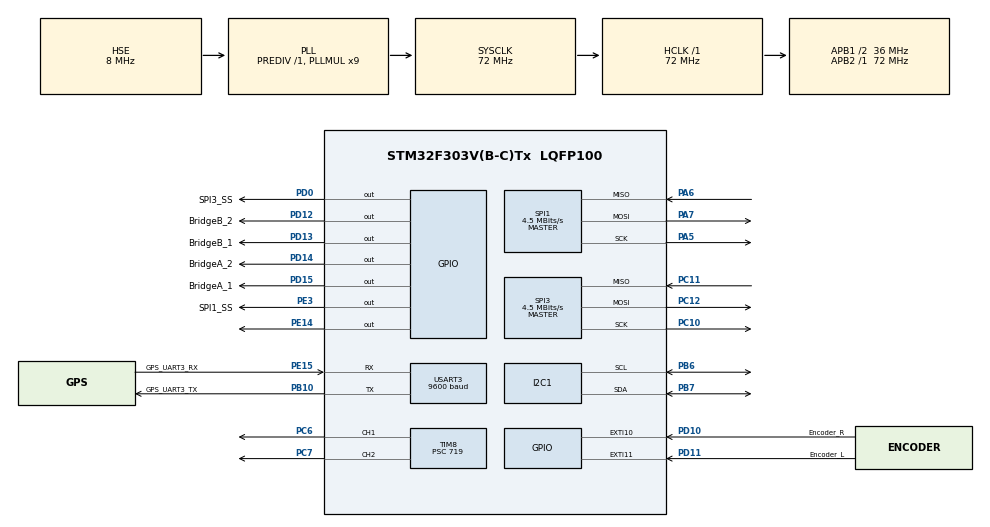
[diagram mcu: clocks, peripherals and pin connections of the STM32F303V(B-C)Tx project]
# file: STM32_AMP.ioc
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Dma.Request0=USART3_RX
Dma.Request1=USART3_TX
Dma.USART3_RX.0.Direction=DMA_PERIPH_TO_MEMORY
Dma.USART3_RX.0.Instance=DMA1_Channel3
Dma.USART3_RX.0.MemDataAlignment=DMA_MDATAALIGN_BYTE
Dma.USART3_RX.0.MemInc=DMA_MINC_ENABLE
Dma.USART3_RX.0.Mode=DMA_NORMAL
Dma.USART3_RX.0.PeriphDataAlignment=DMA_PDATAALIGN_BYTE
Dma.USART3_RX.0.PeriphInc=DMA_PINC_DISABLE
Dma.USART3_RX.0.Priority=DMA_PRIORITY_LOW
Dma.USART3_TX.1.Direction=DMA_MEMORY_TO_PERIPH
Dma.USART3_TX.1.Instance=DMA1_Channel2
Dma.USART3_TX.1.MemDataAlignment=DMA_MDATAALIGN_BYTE
Dma.USART3_TX.1.MemInc=DMA_MINC_ENABLE
Dma.USART3_TX.1.Mode=DMA_NORMAL
Dma.USART3_TX.1.PeriphDataAlignment=DMA_PDATAALIGN_BYTE
Dma.USART3_TX.1.PeriphInc=DMA_PINC_DISABLE
Dma.USART3_TX.1.Priority=DMA_PRIORITY_LOW
Mcu.Family=STM32F3
Mcu.Name=STM32F303V(B-C)Tx
Mcu.Package=LQFP100
NVIC.DMA1_Channel2_IRQn=true\:0\:0\:false\:false\:true\:false\:true
NVIC.DMA1_Channel3_IRQn=true\:0\:0\:false\:false\:true\:false\:true
NVIC.EXTI15_10_IRQn=true\:0\:0\:false\:false\:true\:true\:true
NVIC.PriorityGroup=NVIC_PRIORITYGROUP_4
NVIC.TIM6_DAC_IRQn=true\:0\:0\:false\:false\:true\:true\:true
NVIC.TIM7_IRQn=true\:0\:0\:false\:false\:true\:true\:true
NVIC.USART3_IRQn=true\:0\:0\:false\:false\:true\:true\:true
PA5.Mode=Full_Duplex_Master
PA5.Signal=SPI1_SCK
PA6.Mode=Full_Duplex_Master
PA6.Signal=SPI1_MISO
PA7.Mode=Full_Duplex_Master
PA7.Signal=SPI1_MOSI
PB10.GPIO_Label=GPS_UART3_TX
PB10.Mode=Asynchronous
PB10.Signal=USART3_TX
PB6.Mode=I2C
PB6.Signal=I2C1_SCL
PB7.Mode=I2C
PB7.Signal=I2C1_SDA
PC10.Mode=Full_Duplex_Master
PC10.Signal=SPI3_SCK
PC11.Mode=Full_Duplex_Master
PC11.Signal=SPI3_MISO
PC12.Mode=Full_Duplex_Master
PC12.Signal=SPI3_MOSI
PC6.Signal=S_TIM8_CH1
PC7.Signal=S_TIM8_CH2
PD0.GPIO_Label=SPI3_SS
PD0.Signal=GPIO_Output
PD10.GPIO_Label=Encoder_R
PD10.GPIO_ModeDefaultEXTI=GPIO_MODE_IT_RISING_FALLING
PD10.GPIO_PuPd=GPIO_NOPULL
PD10.Signal=GPXTI10
PD11.GPIO_Label=Encoder_L
PD11.GPIO_ModeDefaultEXTI=GPIO_MODE_IT_RISING_FALLING
PD11.GPIO_PuPd=GPIO_NOPULL
PD11.Signal=GPXTI11
PD12.GPIO_Label=BridgeB_2
PD12.Signal=GPIO_Output
PD13.GPIO_Label=BridgeB_1
PD13.Signal=GPIO_Output
PD14.GPIO_Label=BridgeA_2
PD14.Signal=GPIO_Output
PD15.GPIO_Label=BridgeA_1
PD15.Signal=GPIO_Output
PE14.Signal=GPIO_Output
PE15.GPIO_Label=GPS_UART3_RX
PE15.Mode=Asynchronous
PE15.Signal=USART3_RX
PE3.GPIO_Label=SPI1_SS
PE3.Signal=GPIO_Output
PF0-OSC_IN.Mode=HSE-External-Oscillator
PF0-OSC_IN.Signal=RCC_OSC_IN
PF1-OSC_OUT.Mode=HSE-External-Oscillator
PF1-OSC_OUT.Signal=RCC_OSC_OUT
ProjectManager.HeapSize=0x200
ProjectManager.StackSize=0x400
ProjectManager.TargetToolchain=STM32CubeIDE
RCC.AHBFreq_Value=72000000
RCC.APB1CLKDivider=RCC_HCLK_DIV2
RCC.APB1Freq_Value=36000000
RCC.APB1TimFreq_Value=72000000
RCC.APB2Freq_Value=72000000
RCC.APB2TimFreq_Value=72000000
RCC.CortexFreq_Value=72000000
RCC.EnbaleCSS=true
RCC.HCLKFreq_Value=72000000
RCC.HSE_VALUE=8000000
RCC.HSI_VALUE=8000000
RCC.LSE_VALUE=32768
RCC.PLLMUL=RCC_PLL_MUL9
RCC.PLLSourceVirtual=RCC_PLLSOURCE_HSE
RCC.SYSCLKFreq_VALUE=72000000
RCC.SYSCLKSourceVirtual=RCC_SYSCLKSOURCE_PLLCLK
RCC.USBFreq_Value=72000000
SH.S_TIM8_CH1.0=TIM8_CH1,PWM Generation1 CH1
SH.S_TIM8_CH2.0=TIM8_CH2,PWM Generation2 CH2
SPI1.BaudRatePrescaler=SPI_BAUDRATEPRESCALER_16
SPI1.CalculateBaudRate=4.5 MBits/s
SPI1.DataSize=SPI_DATASIZE_8BIT
SPI1.Direction=SPI_DIRECTION_2LINES
SPI1.Mode=SPI_MODE_MASTER
SPI1.VirtualType=VM_MASTER
SPI3.BaudRatePrescaler=SPI_BAUDRATEPRESCALER_8
SPI3.CalculateBaudRate=4.5 MBits/s
SPI3.DataSize=SPI_DATASIZE_8BIT
SPI3.Direction=SPI_DIRECTION_2LINES
SPI3.Mode=SPI_MODE_MASTER
SPI3.VirtualType=VM_MASTER
TIM6.Period=7199
TIM6.Prescaler=9999
TIM7.Period=4999
TIM7.Prescaler=7199
TIM8.Channel-PWM\ Generation1\ CH1=TIM_CHANNEL_1
TIM8.Channel-PWM\ Generation2\ CH2=TIM_CHANNEL_2
TIM8.Period=999
TIM8.Prescaler=719
USART3.BaudRate=9600
USART3.VirtualMode-Asynchronous=VM_ASYNC
VP_TIM6_VS_ClockSourceINT.Mode=Enable_Timer
VP_TIM7_VS_ClockSourceINT.Mode=Enable_Timer
VP_TIM8_VS_ClockSourceINT.Mode=Internal
board=custom

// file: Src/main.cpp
/* USER CODE BEGIN Header */
/**
  ******************************************************************************
  * @file           : main.c
  * @brief          : Main program body
  ******************************************************************************
  * @attention
  *
  * <h2><center>&copy; Copyright (c) 2019 STMicroelectronics.
  * All rights reserved.</center></h2>
  *
  * This software component is licensed by ST under BSD 3-Clause license,
  * the "License"; You may not use this file except in compliance with the
  * License. You may obtain a copy of the License at:
  *                        opensource.org/licenses/BSD-3-Clause
  *
  ******************************************************************************
  */
/* USER CODE END Header */

#include "main.h"

/* USER CODE BEGIN Includes */

extern "C"
{
	#include "ring_buffer.h"
}

#include "Encoder.h"
#include "DCMotor.h"
#include "IMUSensor.h"
#include "DataPtrVolumePair.h"
#include "DataManagement.h"

/* USER CODE END Includes */

/* USER CODE BEGIN PD */

#define UART3_BUFFER_SIZE 64
#define UART3_RB_SIZE 128

#define ID_PWM 0x02
#define ID_TIM 0x03
#define ID_ACC 0x04
#define ID_GYRO 0x05
#define ID_MAG 0x06
#define ID_ENCODER 0x07
#define ID_GPS 0x08

#define SIZE_GET_PWM 5
#define SIZE_GET_TIM 16
#define SIZE_GET_ACC 10
#define SIZE_GET_GYRO 10
#define SIZE_GET_MAG 10
#define SIZE_GET_ENCODER 4
#define SIZE_GET_GPS 20

#define IMU_NUM_OF_ELEM 10

/* USER CODE END PD */

I2C_HandleTypeDef hi2c1;

SPI_HandleTypeDef hspi1;
SPI_HandleTypeDef hspi3;

TIM_HandleTypeDef htim6;
TIM_HandleTypeDef htim7;
TIM_HandleTypeDef htim8;

UART_HandleTypeDef huart3;
DMA_HandleTypeDef hdma_usart3_rx;
DMA_HandleTypeDef hdma_usart3_tx;

/* USER CODE BEGIN PV */

char messageToSend[50];
uint8_t rxBuffer_UART3[UART3_BUFFER_SIZE];
uint8_t rxRB_UART3[UART3_RB_SIZE];
uint16_t msgSize;
uint16_t sended = 0;
uint16_t sendedHalf = 0;
uint16_t rcvHalf = 0;
uint16_t rcv = 0;
uint32_t numbOfMeasurements;

RINGBUFF_T rxRingBuffer_UART3;
Encoder encoder;
DCMotor dcMotors;
IMUSensor imuSensors(IMU_NUM_OF_ELEM);
DataManagement dataManagement;

std::map<uint8_t, DataPtrVolumePair> dataPtrMap =
{
	{ID_PWM, DataPtrVolumePair{1, SIZE_GET_PWM, std::bind(&DCMotor::getDataInArray, &dcMotors, std::placeholders::_1)}},
	{ID_ACC, DataPtrVolumePair{IMU_NUM_OF_ELEM, SIZE_GET_ACC, std::bind(&IMUSensor::getAccData, &imuSensors, std::placeholders::_1)}},
	{ID_GYRO, DataPtrVolumePair{IMU_NUM_OF_ELEM, SIZE_GET_GYRO, std::bind(&IMUSensor::getGyroData, &imuSensors, std::placeholders::_1)}},
	{ID_MAG, DataPtrVolumePair{IMU_NUM_OF_ELEM, SIZE_GET_MAG, std::bind(&IMUSensor::getMagData, &imuSensors, std::placeholders::_1)}},
	{ID_ENCODER, DataPtrVolumePair{1, SIZE_GET_ENCODER, std::bind(&Encoder::getDataInArray, &encoder, std::placeholders::_1)}}
};

uint8_t buffacc[100] = {0};
uint8_t buffgyro[100] = {0};
uint8_t buffmag[100] = {0};

uint8_t globalBuff[320] = {0};

/* USER CODE END PV */

void SystemClock_Config(void);
static void MX_GPIO_Init(void);
static void MX_DMA_Init(void);
static void MX_USART3_UART_Init(void);
static void MX_TIM8_Init(void);
static void MX_I2C1_Init(void);
static void MX_SPI1_Init(void);
static void MX_SPI3_Init(void);
static void MX_TIM6_Init(void);
static void MX_TIM7_Init(void);
/* USER CODE BEGIN PFP */

extern "C" void UART3_RX_PushDataToBuffer(void);

/* USER CODE END PFP */

/* USER CODE BEGIN 0 */

void UART3_RX_PushDataToBuffer(void)
{
	volatile static uint8_t headPosition = 0, tailPosition = 0;

	tailPosition = UART3_BUFFER_SIZE - __HAL_DMA_GET_COUNTER(&hdma_usart3_rx);

	if(tailPosition != headPosition)
	{
		if (tailPosition > headPosition)
		{
			//Push to ringbuffer from [headPos] to [tailPosition]
			RingBuffer_InsertMult(&rxRingBuffer_UART3, (const uint8_t *) &rxBuffer_UART3[headPosition], tailPosition - headPosition);
		}
		else
		{
			//Push from headPosition to the end
			RingBuffer_InsertMult(&rxRingBuffer_UART3, (const uint8_t *) &rxBuffer_UART3[headPosition], UART3_BUFFER_SIZE - headPosition);
			//and
			//Push from the begining to the tailPosition
			RingBuffer_InsertMult(&rxRingBuffer_UART3, (const uint8_t *) &rxBuffer_UART3, tailPosition);
		}

		headPosition = tailPosition;
	}
}

void HAL_UART_RxHalfCpltCallback(UART_HandleTypeDef *huart)
{
	UART3_RX_PushDataToBuffer();
	rcvHalf++;
}

void HAL_UART_RxCpltCallback(UART_HandleTypeDef *huart)
{
	UART3_RX_PushDataToBuffer();
	rcv++;
}

void UART_TransmitData(UART_HandleTypeDef *huart, uint8_t *data, uint16_t size)
{

	while(!__HAL_UART_GET_FLAG(huart, UART_FLAG_TXE) || !__HAL_UART_GET_FLAG(huart, UART_FLAG_TC));
	HAL_UART_Transmit_DMA(huart, data, size);
	while(!__HAL_UART_GET_FLAG(huart, UART_FLAG_TC));
}

void sendAllDataFromRB(UART_HandleTypeDef *huart, RINGBUFF_T *ringBuffer)
{
	uint16_t dataSize = RingBuffer_GetCount(ringBuffer);
	if(dataSize)
	{
		uint8_t *msgToSend = new uint8_t[dataSize * sizeof(uint8_t)];
		RingBuffer_PopMult(ringBuffer, msgToSend, dataSize);
		UART_TransmitData(huart, msgToSend, dataSize);
		delete [] msgToSend;
		msgToSend = NULL;
	}
}

void HAL_TIM_PeriodElapsedCallback(TIM_HandleTypeDef *htim)
{
	if (htim->Instance == TIM6)
	{
		msgSize = sprintf(messageToSend, "Liczba wyslanych wiadomosci: %d.\n\r", (int) numbOfMeasurements);
		UART_TransmitData(&huart3, (uint8_t *) messageToSend, msgSize);

//		HAL_GPIO_TogglePin(GPIOE, GPIO_PIN_14);
//		encoder.countPulsesPerSecond();
		numbOfMeasurements++;

		imuSensors.pullDataFromSensorsI2C(&hi2c1);
		imuSensors.pullDataFromSensorsSPI(&hspi1);
	}

	if (htim->Instance == TIM7)
	{
		HAL_GPIO_TogglePin(GPIOE, GPIO_PIN_14);
		encoder.countPulsesPerSecond();
	}
}

void HAL_GPIO_EXTI_Callback(uint16_t GPIO_Pin)
{
	if(GPIO_Pin == Encoder_R_Pin)
	{
		encoder.incrementEncoderPulse(RIGHT_ENCODER);
	}

	if(GPIO_Pin == Encoder_L_Pin)
	{
		encoder.incrementEncoderPulse(LEFT_ENCODER);
	}
}
/* USER CODE END 0 */

int main(void)
{

  /* MCU Configuration--------------------------------------------------------*/

  /* Reset of all peripherals, Initializes the Flash interface and the Systick. */
  HAL_Init();

  /* USER CODE BEGIN Init */
  RingBuffer_Init(&rxRingBuffer_UART3, rxRB_UART3, 1, UART3_RB_SIZE);

  /* USER CODE END Init */

  /* Configure the system clock */
  SystemClock_Config();

  /* Initialize all configured peripherals */
  MX_GPIO_Init();
  MX_DMA_Init();
  MX_USART3_UART_Init();
  MX_TIM8_Init();
  MX_I2C1_Init();
  MX_SPI1_Init();
  MX_SPI3_Init();
  MX_TIM6_Init();
  MX_TIM7_Init();
  /* USER CODE BEGIN 2 */

  HAL_SPI_Init(&hspi1);
  HAL_I2C_Init(&hi2c1);
  imuSensors.initializeI2C_Sensors(&hi2c1);
  imuSensors.initializeSPI_Sensors(&hspi1);

  dataManagement.configure(&dataPtrMap);

  HAL_UART_Receive_DMA(&huart3, rxBuffer_UART3, UART3_BUFFER_SIZE);

  HAL_TIM_Base_Start_IT(&htim6);
  HAL_TIM_Base_Start_IT(&htim7);
  HAL_TIM_PWM_Start(&htim8, TIM_CHANNEL_1);
  HAL_TIM_PWM_Start(&htim8, TIM_CHANNEL_2);

  /* USER CODE END 2 */

  /* Infinite loop */
  /* USER CODE BEGIN WHILE */
  while (1)
  {
	  sendAllDataFromRB(&huart3, &rxRingBuffer_UART3);

//	  imuSensors.getAccData(buffacc);
//	  imuSensors.getGyroData(buffgyro);
//	  imuSensors.getMagData(buffmag);

	  dcMotors.forward_R(&htim8, 200);
	  HAL_Delay(1000);
	  dcMotors.stop_R();
	  HAL_Delay(1000);
	  dcMotors.back_R(&htim8, 200);
	  HAL_Delay(1000);
	  dcMotors.stop_R();
	  HAL_Delay(1000);

	  dataManagement.sendData(globalBuff);
    /* USER CODE END WHILE */

  }
}

void SystemClock_Config(void)
{
  RCC_OscInitTypeDef RCC_OscInitStruct = {0};
  RCC_ClkInitTypeDef RCC_ClkInitStruct = {0};
  RCC_PeriphCLKInitTypeDef PeriphClkInit = {0};

  /** Initializes the CPU, AHB and APB busses clocks
  */
  RCC_OscInitStruct.OscillatorType = RCC_OSCILLATORTYPE_HSI|RCC_OSCILLATORTYPE_HSE;
  RCC_OscInitStruct.HSEState = RCC_HSE_ON;
  RCC_OscInitStruct.HSEPredivValue = RCC_HSE_PREDIV_DIV1;
  RCC_OscInitStruct.HSIState = RCC_HSI_ON;
  RCC_OscInitStruct.HSICalibrationValue = RCC_HSICALIBRATION_DEFAULT;
  RCC_OscInitStruct.PLL.PLLState = RCC_PLL_ON;
  RCC_OscInitStruct.PLL.PLLSource = RCC_PLLSOURCE_HSE;
  RCC_OscInitStruct.PLL.PLLMUL = RCC_PLL_MUL9;
  if (HAL_RCC_OscConfig(&RCC_OscInitStruct) != HAL_OK)
  {
    Error_Handler();
  }
  /** Initializes the CPU, AHB and APB busses clocks
  */
  RCC_ClkInitStruct.ClockType = RCC_CLOCKTYPE_HCLK|RCC_CLOCKTYPE_SYSCLK
                              |RCC_CLOCKTYPE_PCLK1|RCC_CLOCKTYPE_PCLK2;
  RCC_ClkInitStruct.SYSCLKSource = RCC_SYSCLKSOURCE_PLLCLK;
  RCC_ClkInitStruct.AHBCLKDivider = RCC_SYSCLK_DIV1;
  RCC_ClkInitStruct.APB1CLKDivider = RCC_HCLK_DIV2;
  RCC_ClkInitStruct.APB2CLKDivider = RCC_HCLK_DIV1;

  if (HAL_RCC_ClockConfig(&RCC_ClkInitStruct, FLASH_LATENCY_2) != HAL_OK)
  {
    Error_Handler();
  }
  PeriphClkInit.PeriphClockSelection = RCC_PERIPHCLK_USART3|RCC_PERIPHCLK_I2C1
                              |RCC_PERIPHCLK_TIM8;
  PeriphClkInit.Usart3ClockSelection = RCC_USART3CLKSOURCE_PCLK1;
  PeriphClkInit.I2c1ClockSelection = RCC_I2C1CLKSOURCE_HSI;
  PeriphClkInit.Tim8ClockSelection = RCC_TIM8CLK_HCLK;
  if (HAL_RCCEx_PeriphCLKConfig(&PeriphClkInit) != HAL_OK)
  {
    Error_Handler();
  }
  /** Enables the Clock Security System
  */
  HAL_RCC_EnableCSS();
}

static void MX_I2C1_Init(void)
{

  hi2c1.Instance = I2C1;
  hi2c1.Init.Timing = 0x2000090E;
  hi2c1.Init.OwnAddress1 = 0;
  hi2c1.Init.AddressingMode = I2C_ADDRESSINGMODE_7BIT;
  hi2c1.Init.DualAddressMode = I2C_DUALADDRESS_DISABLE;
  hi2c1.Init.OwnAddress2 = 0;
  hi2c1.Init.OwnAddress2Masks = I2C_OA2_NOMASK;
  hi2c1.Init.GeneralCallMode = I2C_GENERALCALL_DISABLE;
  hi2c1.Init.NoStretchMode = I2C_NOSTRETCH_DISABLE;
  if (HAL_I2C_Init(&hi2c1) != HAL_OK)
  {
    Error_Handler();
  }
  /** Configure Analogue filter
  */
  if (HAL_I2CEx_ConfigAnalogFilter(&hi2c1, I2C_ANALOGFILTER_ENABLE) != HAL_OK)
  {
    Error_Handler();
  }
  /** Configure Digital filter
  */
  if (HAL_I2CEx_ConfigDigitalFilter(&hi2c1, 0) != HAL_OK)
  {
    Error_Handler();
  }

}

static void MX_SPI1_Init(void)
{

  /* SPI1 parameter configuration*/
  hspi1.Instance = SPI1;
  hspi1.Init.Mode = SPI_MODE_MASTER;
  hspi1.Init.Direction = SPI_DIRECTION_2LINES;
  hspi1.Init.DataSize = SPI_DATASIZE_8BIT;
  hspi1.Init.CLKPolarity = SPI_POLARITY_LOW;
  hspi1.Init.CLKPhase = SPI_PHASE_1EDGE;
  hspi1.Init.NSS = SPI_NSS_SOFT;
  hspi1.Init.BaudRatePrescaler = SPI_BAUDRATEPRESCALER_16;
  hspi1.Init.FirstBit = SPI_FIRSTBIT_MSB;
  hspi1.Init.TIMode = SPI_TIMODE_DISABLE;
  hspi1.Init.CRCCalculation = SPI_CRCCALCULATION_DISABLE;
  hspi1.Init.CRCPolynomial = 7;
  hspi1.Init.CRCLength = SPI_CRC_LENGTH_DATASIZE;
  hspi1.Init.NSSPMode = SPI_NSS_PULSE_ENABLE;
  if (HAL_SPI_Init(&hspi1) != HAL_OK)
  {
    Error_Handler();
  }

}

static void MX_SPI3_Init(void)
{

  /* SPI3 parameter configuration*/
  hspi3.Instance = SPI3;
  hspi3.Init.Mode = SPI_MODE_MASTER;
  hspi3.Init.Direction = SPI_DIRECTION_2LINES;
  hspi3.Init.DataSize = SPI_DATASIZE_8BIT;
  hspi3.Init.CLKPolarity = SPI_POLARITY_LOW;
  hspi3.Init.CLKPhase = SPI_PHASE_1EDGE;
  hspi3.Init.NSS = SPI_NSS_SOFT;
  hspi3.Init.BaudRatePrescaler = SPI_BAUDRATEPRESCALER_8;
  hspi3.Init.FirstBit = SPI_FIRSTBIT_MSB;
  hspi3.Init.TIMode = SPI_TIMODE_DISABLE;
  hspi3.Init.CRCCalculation = SPI_CRCCALCULATION_DISABLE;
  hspi3.Init.CRCPolynomial = 7;
  hspi3.Init.CRCLength = SPI_CRC_LENGTH_DATASIZE;
  hspi3.Init.NSSPMode = SPI_NSS_PULSE_ENABLE;
  if (HAL_SPI_Init(&hspi3) != HAL_OK)
  {
    Error_Handler();
  }

}

static void MX_TIM6_Init(void)
{

  TIM_MasterConfigTypeDef sMasterConfig = {0};

  htim6.Instance = TIM6;
  htim6.Init.Prescaler = 9999;
  htim6.Init.CounterMode = TIM_COUNTERMODE_UP;
  htim6.Init.Period = 7199;
  htim6.Init.AutoReloadPreload = TIM_AUTORELOAD_PRELOAD_DISABLE;
  if (HAL_TIM_Base_Init(&htim6) != HAL_OK)
  {
    Error_Handler();
  }
  sMasterConfig.MasterOutputTrigger = TIM_TRGO_RESET;
  sMasterConfig.MasterSlaveMode = TIM_MASTERSLAVEMODE_DISABLE;
  if (HAL_TIMEx_MasterConfigSynchronization(&htim6, &sMasterConfig) != HAL_OK)
  {
    Error_Handler();
  }

}

static void MX_TIM7_Init(void)
{

  TIM_MasterConfigTypeDef sMasterConfig = {0};

  htim7.Instance = TIM7;
  htim7.Init.Prescaler = 7199;
  htim7.Init.CounterMode = TIM_COUNTERMODE_UP;
  htim7.Init.Period = 4999;
  htim7.Init.AutoReloadPreload = TIM_AUTORELOAD_PRELOAD_DISABLE;
  if (HAL_TIM_Base_Init(&htim7) != HAL_OK)
  {
    Error_Handler();
  }
  sMasterConfig.MasterOutputTrigger = TIM_TRGO_RESET;
  sMasterConfig.MasterSlaveMode = TIM_MASTERSLAVEMODE_DISABLE;
  if (HAL_TIMEx_MasterConfigSynchronization(&htim7, &sMasterConfig) != HAL_OK)
  {
    Error_Handler();
  }

}

static void MX_TIM8_Init(void)
{

  TIM_ClockConfigTypeDef sClockSourceConfig = {0};
  TIM_MasterConfigTypeDef sMasterConfig = {0};
  TIM_OC_InitTypeDef sConfigOC = {0};
  TIM_BreakDeadTimeConfigTypeDef sBreakDeadTimeConfig = {0};

  htim8.Instance = TIM8;
  htim8.Init.Prescaler = 719;
  htim8.Init.CounterMode = TIM_COUNTERMODE_UP;
  htim8.Init.Period = 999;
  htim8.Init.ClockDivision = TIM_CLOCKDIVISION_DIV1;
  htim8.Init.RepetitionCounter = 0;
  htim8.Init.AutoReloadPreload = TIM_AUTORELOAD_PRELOAD_DISABLE;
  if (HAL_TIM_Base_Init(&htim8) != HAL_OK)
  {
    Error_Handler();
  }
  sClockSourceConfig.ClockSource = TIM_CLOCKSOURCE_INTERNAL;
  if (HAL_TIM_ConfigClockSource(&htim8, &sClockSourceConfig) != HAL_OK)
  {
    Error_Handler();
  }
  if (HAL_TIM_PWM_Init(&htim8) != HAL_OK)
  {
    Error_Handler();
  }
  sMasterConfig.MasterOutputTrigger = TIM_TRGO_RESET;
  sMasterConfig.MasterOutputTrigger2 = TIM_TRGO2_RESET;
  sMasterConfig.MasterSlaveMode = TIM_MASTERSLAVEMODE_DISABLE;
  if (HAL_TIMEx_MasterConfigSynchronization(&htim8, &sMasterConfig) != HAL_OK)
  {
    Error_Handler();
  }
  sConfigOC.OCMode = TIM_OCMODE_PWM1;
  sConfigOC.Pulse = 0;
  sConfigOC.OCPolarity = TIM_OCPOLARITY_HIGH;
  sConfigOC.OCNPolarity = TIM_OCNPOLARITY_HIGH;
  sConfigOC.OCFastMode = TIM_OCFAST_DISABLE;
  sConfigOC.OCIdleState = TIM_OCIDLESTATE_RESET;
  sConfigOC.OCNIdleState = TIM_OCNIDLESTATE_RESET;
  if (HAL_TIM_PWM_ConfigChannel(&htim8, &sConfigOC, TIM_CHANNEL_1) != HAL_OK)
  {
    Error_Handler();
  }
  if (HAL_TIM_PWM_ConfigChannel(&htim8, &sConfigOC, TIM_CHANNEL_2) != HAL_OK)
  {
    Error_Handler();
  }
  sBreakDeadTimeConfig.OffStateRunMode = TIM_OSSR_DISABLE;
  sBreakDeadTimeConfig.OffStateIDLEMode = TIM_OSSI_DISABLE;
  sBreakDeadTimeConfig.LockLevel = TIM_LOCKLEVEL_OFF;
  sBreakDeadTimeConfig.DeadTime = 0;
  sBreakDeadTimeConfig.BreakState = TIM_BREAK_DISABLE;
  sBreakDeadTimeConfig.BreakPolarity = TIM_BREAKPOLARITY_HIGH;
  sBreakDeadTimeConfig.BreakFilter = 0;
  sBreakDeadTimeConfig.Break2State = TIM_BREAK2_DISABLE;
  sBreakDeadTimeConfig.Break2Polarity = TIM_BREAK2POLARITY_HIGH;
  sBreakDeadTimeConfig.Break2Filter = 0;
  sBreakDeadTimeConfig.AutomaticOutput = TIM_AUTOMATICOUTPUT_DISABLE;
  if (HAL_TIMEx_ConfigBreakDeadTime(&htim8, &sBreakDeadTimeConfig) != HAL_OK)
  {
    Error_Handler();
  }
  HAL_TIM_MspPostInit(&htim8);

}

static void MX_USART3_UART_Init(void)
{

  huart3.Instance = USART3;
  huart3.Init.BaudRate = 9600;
  huart3.Init.WordLength = UART_WORDLENGTH_8B;
  huart3.Init.StopBits = UART_STOPBITS_1;
  huart3.Init.Parity = UART_PARITY_NONE;
  huart3.Init.Mode = UART_MODE_TX_RX;
  huart3.Init.HwFlowCtl = UART_HWCONTROL_NONE;
  huart3.Init.OverSampling = UART_OVERSAMPLING_16;
  huart3.Init.OneBitSampling = UART_ONE_BIT_SAMPLE_DISABLE;
  huart3.AdvancedInit.AdvFeatureInit = UART_ADVFEATURE_NO_INIT;
  if (HAL_UART_Init(&huart3) != HAL_OK)
  {
    Error_Handler();
  }

}

static void MX_DMA_Init(void)
{
  /* DMA controller clock enable */
  __HAL_RCC_DMA1_CLK_ENABLE();

  /* DMA interrupt init */
  /* DMA1_Channel2_IRQn interrupt configuration */
  HAL_NVIC_SetPriority(DMA1_Channel2_IRQn, 0, 0);
  HAL_NVIC_EnableIRQ(DMA1_Channel2_IRQn);
  /* DMA1_Channel3_IRQn interrupt configuration */
  HAL_NVIC_SetPriority(DMA1_Channel3_IRQn, 0, 0);
  HAL_NVIC_EnableIRQ(DMA1_Channel3_IRQn);

}

static void MX_GPIO_Init(void)
{
  GPIO_InitTypeDef GPIO_InitStruct = {0};

  /* GPIO Ports Clock Enable */
  __HAL_RCC_GPIOE_CLK_ENABLE();
  __HAL_RCC_GPIOF_CLK_ENABLE();
  __HAL_RCC_GPIOA_CLK_ENABLE();
  __HAL_RCC_GPIOB_CLK_ENABLE();
  __HAL_RCC_GPIOD_CLK_ENABLE();
  __HAL_RCC_GPIOC_CLK_ENABLE();

  /*Configure GPIO pin Output Level */
  HAL_GPIO_WritePin(GPIOE, SPI1_SS_Pin|GPIO_PIN_14, GPIO_PIN_RESET);

  /*Configure GPIO pin Output Level */
  HAL_GPIO_WritePin(GPIOD, BridgeB_2_Pin|BridgeB_1_Pin|BridgeA_2_Pin|BridgeA_1_Pin
                          |SPI3_SS_Pin, GPIO_PIN_RESET);

  /*Configure GPIO pins : SPI1_SS_Pin PE14 */
  GPIO_InitStruct.Pin = SPI1_SS_Pin|GPIO_PIN_14;
  GPIO_InitStruct.Mode = GPIO_MODE_OUTPUT_PP;
  GPIO_InitStruct.Pull = GPIO_NOPULL;
  GPIO_InitStruct.Speed = GPIO_SPEED_FREQ_LOW;
  HAL_GPIO_Init(GPIOE, &GPIO_InitStruct);

  /*Configure GPIO pins : Encoder_R_Pin Encoder_L_Pin */
  GPIO_InitStruct.Pin = Encoder_R_Pin|Encoder_L_Pin;
  GPIO_InitStruct.Mode = GPIO_MODE_IT_RISING_FALLING;
  GPIO_InitStruct.Pull = GPIO_NOPULL;
  HAL_GPIO_Init(GPIOD, &GPIO_InitStruct);

  /*Configure GPIO pins : BridgeB_2_Pin BridgeB_1_Pin BridgeA_2_Pin BridgeA_1_Pin
                           SPI3_SS_Pin */
  GPIO_InitStruct.Pin = BridgeB_2_Pin|BridgeB_1_Pin|BridgeA_2_Pin|BridgeA_1_Pin
                          |SPI3_SS_Pin;
  GPIO_InitStruct.Mode = GPIO_MODE_OUTPUT_PP;
  GPIO_InitStruct.Pull = GPIO_NOPULL;
  GPIO_InitStruct.Speed = GPIO_SPEED_FREQ_LOW;
  HAL_GPIO_Init(GPIOD, &GPIO_InitStruct);

  /* EXTI interrupt init*/
  HAL_NVIC_SetPriority(EXTI15_10_IRQn, 0, 0);
  HAL_NVIC_EnableIRQ(EXTI15_10_IRQn);

}

void Error_Handler(void)
{
}

/************************ (C) COPYRIGHT STMicroelectronics *****END OF FILE****/
